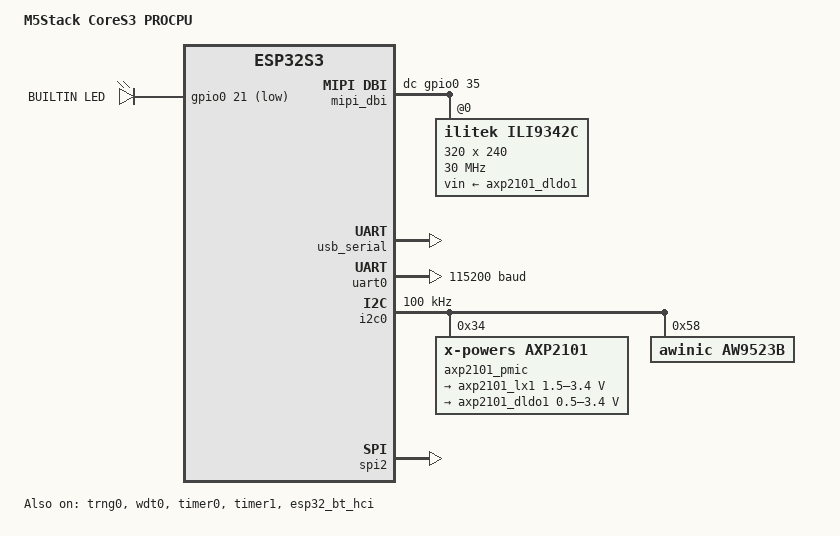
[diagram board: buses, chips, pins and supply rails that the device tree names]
/*
 * Copyright (c) 2024 Zhang Xingtao <zhxt@live.cn>
 *
 * SPDX-License-Identifier: Apache-2.0
 */

/dts-v1/;

#include <espressif/esp32s3/esp32s3_wroom_n16r8.dtsi>
#include "m5stack_cores3-pinctrl.dtsi"
#include <zephyr/dt-bindings/display/ili9xxx.h>
#include <zephyr/dt-bindings/gpio/gpio.h>
#include <zephyr/dt-bindings/mipi_dbi/mipi_dbi.h>

/ {
	model = "M5Stack CoreS3 PROCPU";
	compatible = "m5stack,cores3";

	chosen {
		zephyr,sram = &sram0;
		zephyr,console = &usb_serial;
		zephyr,shell-uart = &usb_serial;
		zephyr,flash = &flash0;
                zephyr,display = &ili9342c;
		zephyr,code-partition = &slot0_partition;
		zephyr,bt-hci = &esp32_bt_hci;
	};

	aliases {
		i2c-0 = &i2c0;
		watchdog0 = &wdt0;
		led0 = &led0;
	};

	leds {
		compatible = "gpio-leds";
		led0: led_0 {
			gpios = <&gpio0 21 GPIO_ACTIVE_LOW>;
			label = "BUILTIN LED";
		};
	};

	mipi_dbi {
		compatible = "zephyr,mipi-dbi-spi";
		dc-gpios = <&gpio0 35 GPIO_ACTIVE_HIGH>;
		spi-dev = <&spi2>;
		write-only;
		#address-cells = <1>;
		#size-cells = <0>;

		ili9342c: ili9342c@0 {
			compatible = "ilitek,ili9342c";
			mipi-max-frequency = <30000000>;
			mipi-mode = <MIPI_DBI_MODE_SPI_3WIRE>;
			reg = <0>;
			vin-supply = <&axp2101_dldo1>;
			//pixel-format = <ILI9XXX_PIXEL_FORMAT_RGB565>;
			pixel-format = <ILI9XXX_PIXEL_FORMAT_RGB888>;
			display-inversion;
			width = <320>;
			height = <240>;
			rotation = <0>;
		};
	};
};

&usb_serial {
	status = "okay";
};

&uart0 {
	status = "okay";
	current-speed = <115200>;
	pinctrl-0 = <&uart0_default>;
	pinctrl-names = "default";
};

&i2c0 {
	status = "okay";
	clock-frequency = <I2C_BITRATE_STANDARD>;
	pinctrl-0 = <&i2c0_default>;
	pinctrl-names = "default";

	axp2101_pmic: axp2101@34 {
		compatible = "x-powers,axp2101";
		reg = <0x34>;
		status = "okay";

		axp2101_regulator: axp2101_regulator {
			compatible = "x-powers,axp2101-regulator";
			status = "okay";

			axp2101_lx1: DCDC1 {
				regulator-name = "DCDC1";
				regulator-min-microvolt = <1500000>;
				regulator-max-microvolt = <3400000>;
				status = "okay";
			};

			axp2101_dldo1: LDOD1 {
				regulator-name = "LDOD1";
				regulator-init-microvolt = <2800000>;
				regulator-min-microvolt = <500000>;
				regulator-max-microvolt = <3400000>;
				regulator-boot-on;
				status = "okay";
			};
		};
	};

	aw9523b: aw9523b@58 {
		compatible = "awinic,aw9523b";
		reg = <0x58>;
		status = "okay";

		aw9523b_gpio: aw9523b_gpio {
			compatible = "awinic,aw9523b-gpio";
			gpio-controller;
			#gpio-cells = <2>;
			ngpios = <16>;
			status = "okay";

			lcd_bt: aw9523b_gpio1 {
				gpio-hog;
				gpios = <1 (GPIO_OPEN_DRAIN | GPIO_ACTIVE_LOW)>;
				output-high;
				line-name = "lcd_bg";
			};
		};
	};
};

&trng0 {
	status = "okay";
};

&spi2 {
	#address-cells = <1>;
	#size-cells = <0>;
	status = "okay";
	pinctrl-0 = <&spim2_default>;
	pinctrl-names = "default";
};

&gpio0 {
	status = "okay";
};

&gpio1 {
	status = "okay";
};

&wdt0 {
	status = "okay";
};

&twai {
	pinctrl-0 = <&twai_default>;
	pinctrl-names = "default";
};

&timer0 {
	status = "okay";
};

&timer1 {
	status = "okay";
};

&flash0 {
	status = "okay";
	partitions {
		compatible = "fixed-partitions";
		#address-cells = <1>;
		#size-cells = <1>;

		boot_partition: partition@0 {
			label = "mcuboot";
			reg = <0x00000000 0x0000F000>;
			read-only;
		};

		slot0_partition: partition@10000 {
			label = "image-0";
			reg = <0x00010000 0x00100000>;
		};

		slot1_partition: partition@110000 {
			label = "image-1";
			reg = <0x00110000 0x00100000>;
		};

		scratch_partition: partition@210000 {
			label = "image-scratch";
			reg = <0x00210000 0x00040000>;
		};

		storage_partition: partition@250000 {
			label = "storage";
			reg = <0x00250000 0x00006000>;
		};
	};
};

&esp32_bt_hci {
	status = "okay";
};
